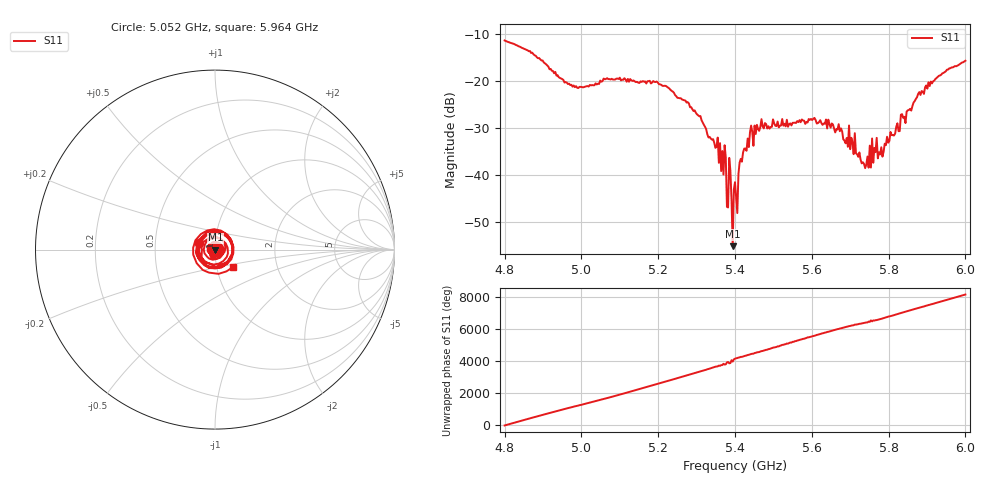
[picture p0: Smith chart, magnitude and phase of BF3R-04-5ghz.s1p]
! NanoVNA-App
! Date: 2026-05-22 16:08:03
! Start: 4.8GHz Stop: 6GHz Points: 401
! S-Parameter data: F S11
# Hz S RI R 50
!  Frequency  S11_Real  S11_Imag
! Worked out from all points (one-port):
!   401 points, 4.8 GHz to 6 GHz, reference 50 ohm
!   lowest |S11| = -55.0 dB at 5.394 GHz (marker M1), VSWR 1.00, Z = 50.2 - j0.00208 ohm
!   |S11| at or under -10 dB: start of sweep to end of sweep
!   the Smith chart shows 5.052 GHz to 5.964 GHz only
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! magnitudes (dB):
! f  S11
! 4.8 GHz  -11.4
! 4.869 GHz  -14.0
! 4.95 GHz  -19.6
! 4.995 GHz  -21.2
! 5.1 GHz  -19.3
! 5.193 GHz  -20.2
! 5.25 GHz  -23.5
! 5.304 GHz  -27.3
! 5.349 GHz  -34.2
! 5.37 GHz  -39.8
! 5.376 GHz  -36.2
! 5.379 GHz  -46.7
! 5.388 GHz  -39.0
! 5.394 GHz  -55.0
! 5.4 GHz  -41.4
! 5.403 GHz  -44.7
! 5.415 GHz  -36.5
! 5.439 GHz  -30.9
! 5.475 GHz  -30.0
! 5.55 GHz  -28.9
! 5.649 GHz  -29.9
! 5.7 GHz  -34.4
! 5.742 GHz  -37.7
! 5.763 GHz  -34.2
! 5.781 GHz  -34.0
! 5.85 GHz  -26.2
! 5.904 GHz  -20.3
! 6 GHz  -15.7
